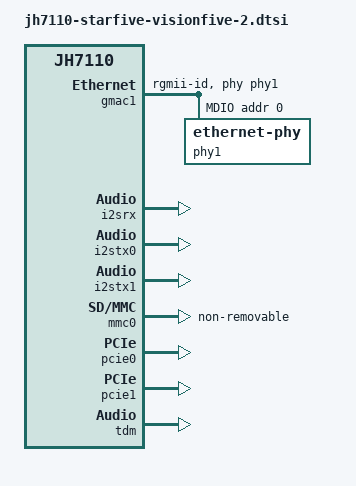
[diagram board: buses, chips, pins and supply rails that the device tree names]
// SPDX-License-Identifier: GPL-2.0 OR MIT
/*
 * Copyright (C) 2022 StarFive Technology Co., Ltd.
 * Copyright (C) 2022 Emil Renner Berthing <kernel@esmil.dk>
 */

/dts-v1/;
#include "jh7110-common.dtsi"

/ {
	aliases {
		ethernet1 = &gmac1;
	};
};

&gmac1 {
	phy-handle = <&phy1>;
	phy-mode = "rgmii-id";
	status = "okay";

	mdio {
		#address-cells = <1>;
		#size-cells = <0>;
		compatible = "snps,dwmac-mdio";

		phy1: ethernet-phy@1 {
			reg = <0>;
		};
	};
};

&i2srx {
	pinctrl-names = "default";
	pinctrl-0 = <&i2srx_pins>;
	status = "okay";
};

&i2stx0 {
	pinctrl-names = "default";
	pinctrl-0 = <&mclk_ext_pins>;
	status = "okay";
};

&i2stx1 {
	pinctrl-names = "default";
	pinctrl-0 = <&i2stx1_pins>;
	status = "okay";
};

&mmc0 {
	non-removable;
};

&pcie0 {
	status = "okay";
};

&pcie1 {
	status = "okay";
};

&sysgpio {
	i2srx_pins: i2srx-0 {
		clk-sd-pins {
			pinmux = <GPIOMUX(38, GPOUT_LOW,
					      GPOEN_DISABLE,
					      GPI_SYS_I2SRX_BCLK)>,
				 <GPIOMUX(63, GPOUT_LOW,
					      GPOEN_DISABLE,
					      GPI_SYS_I2SRX_LRCK)>,
				 <GPIOMUX(38, GPOUT_LOW,
					      GPOEN_DISABLE,
					      GPI_SYS_I2STX1_BCLK)>,
				 <GPIOMUX(63, GPOUT_LOW,
					      GPOEN_DISABLE,
					      GPI_SYS_I2STX1_LRCK)>,
				 <GPIOMUX(61, GPOUT_LOW,
					      GPOEN_DISABLE,
					      GPI_SYS_I2SRX_SDIN0)>;
			input-enable;
		};
	};

	i2stx1_pins: i2stx1-0 {
		sd-pins {
			pinmux = <GPIOMUX(44, GPOUT_SYS_I2STX1_SDO0,
					      GPOEN_ENABLE,
					      GPI_NONE)>;
			bias-disable;
			input-disable;
		};
	};

	mclk_ext_pins: mclk-ext-0 {
		mclk-ext-pins {
			pinmux = <GPIOMUX(4, GPOUT_LOW,
					     GPOEN_DISABLE,
					     GPI_SYS_MCLK_EXT)>;
			input-enable;
		};
	};

	tdm_pins: tdm-0 {
		tx-pins {
			pinmux = <GPIOMUX(44, GPOUT_SYS_TDM_TXD,
					      GPOEN_ENABLE,
					      GPI_NONE)>;
			bias-pull-up;
			drive-strength = <2>;
			input-disable;
			input-schmitt-disable;
			slew-rate = <0>;
		};

		rx-pins {
			pinmux = <GPIOMUX(61, GPOUT_HIGH,
					      GPOEN_DISABLE,
					      GPI_SYS_TDM_RXD)>;
			input-enable;
		};

		sync-pins {
			pinmux = <GPIOMUX(63, GPOUT_HIGH,
					      GPOEN_DISABLE,
					      GPI_SYS_TDM_SYNC)>;
			input-enable;
		};

		pcmclk-pins {
			pinmux = <GPIOMUX(38, GPOUT_HIGH,
					      GPOEN_DISABLE,
					      GPI_SYS_TDM_CLK)>;
			input-enable;
		};
	};
};

&tdm {
	pinctrl-names = "default";
	pinctrl-0 = <&tdm_pins>;
	status = "okay";
};
